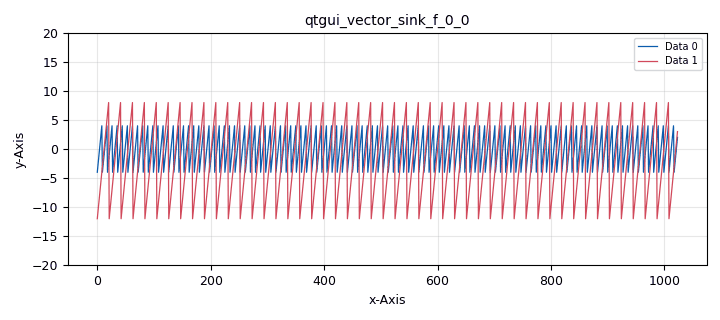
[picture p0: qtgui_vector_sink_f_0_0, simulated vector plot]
<?xml version='1.0' encoding='utf-8'?>
<?grc format='1' created='3.7.11'?>
<flow_graph>
<block>
<key>options</key>
<param><key>id</key><value>top_block</value></param>
<param><key>comment</key><value>This flowgraph is a starting point for adding in my 
own custom python blocks. It is also me just experimenting
with throttle &amp; Stream to Vector.</value></param>
<param><key>generate_options</key><value>qt_gui</value></param>
</block>
<block>
<key>variable</key>
<param><key>id</key><value>dummy_0</value></param>
<param><key>value</key><value>brads_python_module.MAGIC_NUMBER</value></param>
</block>
<block>
<key>variable</key>
<param><key>id</key><value>dummy_1</value></param>
<param><key>value</key><value>brads_python_module.magic_function(-1)</value></param>
</block>
<block>
<key>variable</key>
<param><key>id</key><value>max_signal_freq</value></param>
<param><key>value</key><value>samp_rate/2</value></param>
</block>
<block>
<key>variable</key>
<param><key>id</key><value>samp_rate</value></param>
<param><key>value</key><value>100000</value></param>
</block>
<block>
<key>variable_qtgui_range</key>
<param><key>id</key><value>variable_qtgui_signal_freq</value></param>
<param><key>value</key><value>25000</value></param>
<param><key>orient</key><value>Qt.Horizontal</value></param>
<param><key>start</key><value>1000</value></param>
<param><key>step</key><value>100</value></param>
<param><key>stop</key><value>max_signal_freq</value></param>
</block>
<block>
<key>analog_sig_source_x</key>
<param><key>id</key><value>analog_sig_source_x_0</value></param>
<param><key>amp</key><value>1</value></param>
<param><key>freq</key><value>variable_qtgui_signal_freq</value></param>
<param><key>offset</key><value>0</value></param>
<param><key>type</key><value>complex</value></param>
<param><key>samp_rate</key><value>samp_rate</value></param>
<param><key>waveform</key><value>analog.GR_COS_WAVE</value></param>
</block>
<block>
<key>blocks_complex_to_float</key>
<param><key>id</key><value>blocks_complex_to_float_0</value></param>
<param><key>vlen</key><value>1024</value></param>
</block>
<block>
<key>blocks_complex_to_mag_squared</key>
<param><key>id</key><value>blocks_complex_to_mag_squared_0</value></param>
<param><key>_enabled</key><value>0</value></param>
<param><key>vlen</key><value>1024</value></param>
</block>
<block>
<key>blocks_nlog10_ff</key>
<param><key>id</key><value>blocks_nlog10_ff_0</value></param>
<param><key>_enabled</key><value>0</value></param>
<param><key>vlen</key><value>1024</value></param>
<param><key>k</key><value>0</value></param>
<param><key>n</key><value>1</value></param>
</block>
<block>
<key>blocks_stream_to_vector</key>
<param><key>id</key><value>blocks_stream_to_vector_0</value></param>
<param><key>type</key><value>complex</value></param>
<param><key>num_items</key><value>1024</value></param>
</block>
<block>
<key>blocks_throttle</key>
<param><key>id</key><value>blocks_throttle_0_0</value></param>
<param><key>samples_per_second</key><value>samp_rate</value></param>
<param><key>type</key><value>complex</value></param>
</block>
<block>
<key>epy_module</key>
<param><key>id</key><value>brads_python_module</value></param>
<param><key>source_code</key><value>'''This is a very useless module because it doesn't do anything useful.'''

MAGIC_NUMBER=1234.56

def magic_function(a):
    return a*3

</value></param>
</block>
<block>
<key>epy_module</key>
<param><key>id</key><value>epy_module_0</value></param>
<param><key>source_code</key><value># this module will be imported in the into your flowgraph</value></param>
</block>
<block>
<key>fft_vxx</key>
<param><key>id</key><value>fft_vxx_0</value></param>
<param><key>_enabled</key><value>0</value></param>
<param><key>fft_size</key><value>1024</value></param>
<param><key>forward</key><value>True</value></param>
<param><key>type</key><value>complex</value></param>
<param><key>shift</key><value>True</value></param>
<param><key>window</key><value>window.blackmanharris(1024)</value></param>
</block>
<block>
<key>epy_block</key>
<param><key>id</key><value>mock_fft</value></param>
<param><key>_source_code</key><value>"""
Embedded Python Blocks:

Each time this file is saved, GRC will instantiate the first class it finds
to get ports and parameters of your block. The arguments to __init__  will
be the parameters. All of them are required to have default values!
"""

import numpy as np
from gnuradio import gr

ctr = 0

class blk(gr.sync_block):  # other base classes are basic_block, decim_block, interp_block
    """Embedded Python Block to be used in places where FFT can be used."""

    def __init__(self, fft_size=1024):  # only default arguments here
        """arguments to this function show up as parameters in GRC"""
        gr.sync_block.__init__(
            self,
            name='Mock FFT',   # will show up in GRC
            #in_sig=[np.complex64],
            #out_sig=[np.complex64]
            in_sig=[(np.complex64,fft_size)],
            out_sig=[(np.complex64,fft_size)]
        )
        # if an attribute with the same name as a parameter is found,
        # a callback is registered (properties work, too).
        self.fft_size = fft_size

    def work(self, input_items, output_items):
        """Starting point for writing a custom FFT block."""

        global ctr
        ctr +=1

        # input_items is a list of ndarray of ndarray of complex64
        # output_items has the same shape
        assert type(input_items) == list
        assert type(input_items[0]) == np.ndarray
        assert type(input_items[0][0]) == np.ndarray
        assert type(input_items[0][0][0]) == np.complex64
        assert input_items[0].shape == output_items[0].shape
        assert len(input_items) &gt; 0
        assert len(input_items[0]) &gt; 0
        assert len(input_items[0][0]) == self.fft_size

        # list format: (current value, initial value, max value, increment)
        x = [-4, -4, 4, 1]
        y = [-12, -12, 8, 1]
        
        for ii,_ in enumerate(input_items):
            assert len(output_items[ii]) == len(input_items[ii])
            for jj,_ in enumerate(input_items[ii]):
                assert len(input_items[ii][jj]) == self.fft_size
                assert len(output_items[ii][jj]) == self.fft_size
                for kk,val in enumerate(input_items[ii][jj]):
                    assert type(val) == np.complex64
                    output_items[ii][jj][kk] = x[0] + y[0] * 1j #val
                    x[0] += x[3]
                    y[0] += y[3]
                    if x[0] &gt; x[2]: x[0] = x[1]
                    if y[0] &gt; y[2]: y[0] = y[1]

        return len(output_items)
        
</value></param>
<param><key>fft_size</key><value>1024</value></param>
</block>
<block>
<key>qtgui_sink_x</key>
<param><key>id</key><value>qtgui_sink_x_0</value></param>
<param><key>bw</key><value>samp_rate</value></param>
<param><key>fc</key><value>0</value></param>
<param><key>freqchangevar</key><value>None</value></param>
<param><key>_enabled</key><value>0</value></param>
<param><key>fftsize</key><value>1024*8</value></param>
<param><key>plotconst</key><value>False</value></param>
<param><key>plotwaterfall</key><value>False</value></param>
<param><key>showports</key><value>True</value></param>
<param><key>showrf</key><value>True</value></param>
<param><key>type</key><value>complex</value></param>
<param><key>wintype</key><value>firdes.WIN_BLACKMAN_hARRIS</value></param>
</block>
<block>
<key>qtgui_vector_sink_f</key>
<param><key>id</key><value>qtgui_vector_sink_f_0</value></param>
<param><key>_enabled</key><value>0</value></param>
<param><key>showports</key><value>True</value></param>
<param><key>vlen</key><value>1024</value></param>
<param><key>x_start</key><value>0</value></param>
<param><key>x_step</key><value>1.0</value></param>
</block>
<block>
<key>qtgui_vector_sink_f</key>
<param><key>id</key><value>qtgui_vector_sink_f_0_0</value></param>
<param><key>grid</key><value>True</value></param>
<param><key>nconnections</key><value>2</value></param>
<param><key>showports</key><value>True</value></param>
<param><key>vlen</key><value>1024</value></param>
<param><key>x_start</key><value>0</value></param>
<param><key>x_step</key><value>1.0</value></param>
<param><key>ymax</key><value>20</value></param>
<param><key>ymin</key><value>-20</value></param>
</block>
<connection><source_block_id>analog_sig_source_x_0</source_block_id><sink_block_id>blocks_throttle_0_0</sink_block_id><source_key>0</source_key><sink_key>0</sink_key></connection>
<connection><source_block_id>blocks_complex_to_float_0</source_block_id><sink_block_id>qtgui_vector_sink_f_0_0</sink_block_id><source_key>1</source_key><sink_key>1</sink_key></connection>
<connection><source_block_id>blocks_complex_to_float_0</source_block_id><sink_block_id>qtgui_vector_sink_f_0_0</sink_block_id><source_key>0</source_key><sink_key>0</sink_key></connection>
<connection><source_block_id>blocks_complex_to_mag_squared_0</source_block_id><sink_block_id>blocks_nlog10_ff_0</sink_block_id><source_key>0</source_key><sink_key>0</sink_key></connection>
<connection><source_block_id>blocks_nlog10_ff_0</source_block_id><sink_block_id>qtgui_vector_sink_f_0</sink_block_id><source_key>0</source_key><sink_key>0</sink_key></connection>
<connection><source_block_id>blocks_stream_to_vector_0</source_block_id><sink_block_id>fft_vxx_0</sink_block_id><source_key>0</source_key><sink_key>0</sink_key></connection>
<connection><source_block_id>blocks_stream_to_vector_0</source_block_id><sink_block_id>mock_fft</sink_block_id><source_key>0</source_key><sink_key>0</sink_key></connection>
<connection><source_block_id>blocks_throttle_0_0</source_block_id><sink_block_id>blocks_stream_to_vector_0</sink_block_id><source_key>0</source_key><sink_key>0</sink_key></connection>
<connection><source_block_id>blocks_throttle_0_0</source_block_id><sink_block_id>qtgui_sink_x_0</sink_block_id><source_key>0</source_key><sink_key>0</sink_key></connection>
<connection><source_block_id>fft_vxx_0</source_block_id><sink_block_id>blocks_complex_to_mag_squared_0</sink_block_id><source_key>0</source_key><sink_key>0</sink_key></connection>
<connection><source_block_id>mock_fft</source_block_id><sink_block_id>blocks_complex_to_float_0</sink_block_id><source_key>0</source_key><sink_key>0</sink_key></connection>
<connection><source_block_id>mock_fft</source_block_id><sink_block_id>blocks_complex_to_mag_squared_0</sink_block_id><source_key>0</source_key><sink_key>0</sink_key></connection>
</flow_graph>
